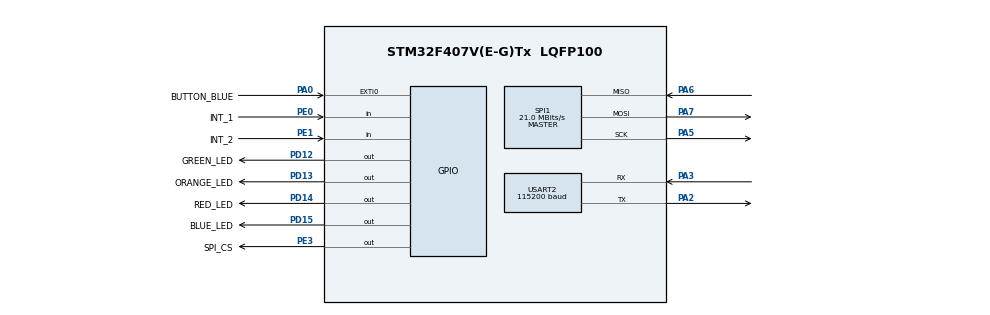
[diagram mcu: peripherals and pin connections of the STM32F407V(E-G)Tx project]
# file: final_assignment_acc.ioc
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Mcu.Family=STM32F4
PD12.GPIO_Label=GREEN_LED
PA6.Mode=Full_Duplex_Master
PH0-OSC_IN.Signal=RCC_OSC_IN
RCC.CortexFreq_Value=168000000
SPI1.VirtualType=VM_MASTER
PA2.GPIO_Speed=GPIO_SPEED_FREQ_MEDIUM
PA3.GPIO_Speed=GPIO_SPEED_FREQ_MEDIUM
RCC.SYSCLKSource=RCC_SYSCLKSOURCE_PLLCLK
ProjectManager.StackSize=0x400
PD13.Signal=GPIO_Output
SPI1.Direction=SPI_DIRECTION_2LINES
RCC.HCLKFreq_Value=168000000
RCC.APB2TimFreq_Value=168000000
SPI1.CalculateBaudRate=21.0 MBits/s
TIM3.Pulse-Output\ Compare1\ No\ Output=50000
PE1.Signal=GPIO_Input
RCC.AHBFreq_Value=168000000
PH0-OSC_IN.Mode=HSE-External-Oscillator
PE3.PinState=GPIO_PIN_SET
RCC.HSE_VALUE=8000000
PC14-OSC32_IN.Mode=LSE-External-Oscillator
PA14.Mode=Serial_Wire
TIM3.Prescaler=1679
PH1-OSC_OUT.Mode=HSE-External-Oscillator
PD13.GPIO_Label=ORANGE_LED
Mcu.Package=LQFP100
PA6.Signal=SPI1_MISO
USART2.VirtualMode=VM_ASYNC
PD12.Signal=GPIO_Output
PE0.GPIO_Label=INT_1
RCC.APB2CLKDivider=RCC_HCLK_DIV2
RCC.APB1TimFreq_Value=84000000
SPI1.BaudRatePrescaler=SPI_BAUDRATEPRESCALER_4
PD15.Signal=GPIO_Output
PA3.Signal=USART2_RX
PA5.Mode=Full_Duplex_Master
RCC.PLLSourceVirtual=RCC_PLLSOURCE_HSE
PC15-OSC32_OUT.Mode=LSE-External-Oscillator
PD15.GPIO_Label=BLUE_LED
PA7.Mode=Full_Duplex_Master
TIM3.Channel-Output\ Compare1\ No\ Output=TIM_CHANNEL_1
RCC.APB1CLKDivider=RCC_HCLK_DIV4
PC14-OSC32_IN.Signal=RCC_OSC32_IN
NVIC.USART2_IRQn=true\:0\:0\:false\:false\:true\:true\:true
USART2.BaudRate=115200
PA0-WKUP.GPIO_Label=BUTTON_BLUE
PA0-WKUP.Signal=GPXTI0
PA13.Signal=SYS_JTMS-SWDIO
PA3.Mode=Asynchronous
ProjectManager.TargetToolchain=STM32CubeIDE
PC15-OSC32_OUT.Signal=RCC_OSC32_OUT
TIM3.OC1Preload=DISABLE
PA5.Signal=SPI1_SCK
board=custom
VP_TIM3_VS_no_output1.Mode=Output Compare1 No Output
RCC.VCOOutputFreq_Value=336000000
PE1.GPIO_Label=INT_2
RCC.APB2Freq_Value=84000000
SPI1.CRCCalculation=SPI_CRCCALCULATION_ENABLE
SPI1.Mode=SPI_MODE_MASTER
PH1-OSC_OUT.Signal=RCC_OSC_OUT
PD14.GPIO_Label=RED_LED
PA13.Mode=Serial_Wire
Mcu.Name=STM32F407V(E-G)Tx
PE0.Signal=GPIO_Input
PA2.Signal=USART2_TX
PD14.Signal=GPIO_Output
RCC.48MHZClocksFreq_Value=84000000
RCC.SYSCLKFreq_VALUE=168000000
PE3.GPIO_Speed=GPIO_SPEED_FREQ_MEDIUM
PA14.Signal=SYS_JTCK-SWCLK
ProjectManager.HeapSize=0x200
RCC.HSI_VALUE=16000000
NVIC.PriorityGroup=NVIC_PRIORITYGROUP_4
RCC.PLLM=8
RCC.PLLN=336
PE3.Signal=GPIO_Output
PA2.Mode=Asynchronous
PA0-WKUP.GPIO_PuPd=GPIO_PULLDOWN
PE3.GPIO_Label=SPI_CS
TIM3.TIM_MasterOutputTrigger=TIM_TRGO_OC1REF
RCC.APB1Freq_Value=42000000
PA7.Signal=SPI1_MOSI

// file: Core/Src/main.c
/* USER CODE BEGIN Header */
/**
 ******************************************************************************
 * @file           : main.c
 * @brief          : Main program body
 ******************************************************************************
 * @attention
 *
 * <h2><center>&copy; Copyright (c) 2021 STMicroelectronics.
 * All rights reserved.</center></h2>
 *
 * This software component is licensed by ST under BSD 3-Clause license,
 * the "License"; You may not use this file except in compliance with the
 * License. You may obtain a copy of the License at:
 *                        opensource.org/licenses/BSD-3-Clause
 *
 ******************************************************************************
 */
/* USER CODE END Header */
#include "main.h"
#include "spi.h"
#include "tim.h"
#include "usart.h"
#include "gpio.h"

#include "acc_fir.h"
#include "acc_utils.h"

/* USER CODE BEGIN Includes */
#include "stm32f4_discovery_lis3dsh.h"
#include <stdio.h>
#include <math.h>
#include "stm32f4xx.h"

#include "arm_math.h"
#include "math_helper.h"
#include "noarm_cmsis.h"
/* USER CODE END Includes */

/* USER CODE BEGIN PD */
//#define __FPU_PRESENT             1U       /*!< FPU present                                   */
/* ----------------------------------------------------------------------
 * Defines for each of the tests performed
 * ------------------------------------------------------------------- */

/* USER CODE END PD */

/* USER CODE BEGIN PV */

void Acc_Config(void);

uint8_t chRX = 0;
uint8_t dataReceived = 0;

uint8_t stream_active = 0;
uint8_t stream_mode = 0;

uint8_t dataReady = 0;

float32_t roll;
float32_t pitch;

// accData row counter
uint16_t idx = 0;
// matrix used by the accelerometer to store values
int16_t accData[SIZE][3];

// fir output data arrays
float32_t fir_out_x[SIZE];
float32_t fir_out_y[SIZE];
float32_t fir_out_z[SIZE];

// To check the inclusion on DSP
// Test as in: https://community.st.com/s/article/configuring-dsp-libraries-on-stm32cubeide
#define FFT_Length 1024
float32_t FFT_Input_Q15_f[50];
float32_t aFFT_Input_Q15[50];

/* USER CODE END PV */

void SystemClock_Config(void);
void led_off();
void led_orientation(float32_t roll, float32_t pitch);

int main(void) {
	/* USER CODE BEGIN 1 */

	// To check the inclusion of DSP
	// Test as in: https://community.st.com/s/article/configuring-dsp-libraries-on-stm32cubeide
	arm_float_to_q15((float32_t*) &FFT_Input_Q15_f[0], (q15_t*) &aFFT_Input_Q15[0], FFT_Length * 2);

	/* USER CODE END 1 */

	/* MCU Configuration--------------------------------------------------------*/

	/* Reset of all peripherals, Initializes the Flash interface and the Systick. */
	HAL_Init();

	/* Configure the system clock */
	SystemClock_Config();

	/* Initialize all configured peripherals */
	MX_GPIO_Init();
	MX_TIM3_Init();
	MX_USART2_UART_Init();
	MX_SPI1_Init();
	/* USER CODE BEGIN 2 */

	// init systick
	if (HAL_SYSTICK_Config(SystemCoreClock / (1000U / uwTickFreq)) > 0U) {
		return HAL_ERROR;
	}

	LL_USART_EnableIT_RXNE(USART2);
	LL_USART_Enable(USART2);

	LL_SPI_Enable(LIS3DSH_SPI);
	Acc_Config();

	// initialize 3 axis FIR
	init_fir_3_axes();
	// reset all board LEDs
	led_off();

	printf("Type s to start/stop streaming and d to toggle streaming mode...\r\n");
	/* USER CODE END 2 */
	/* Infinite loop */
	/* USER CODE BEGIN WHILE */
	while (1) {
		if (dataReceived) {
			if (chRX == 's') {
				// toggle stream
				stream_active = 1 - stream_active;
				if (stream_active == 1) {
					printf("Stream ON\r\n");
				} else {
					printf("Stream OFF\r\n");
				}

			} else if (chRX == 'd') {
				// toggle streaming mode between accelerometer data streaming and roll, pitch
				stream_mode = 1 - stream_mode;
				if (stream_mode == 1) {
					printf("Now streaming (roll, pitch) \r\n");
				} else {
					printf("Now streaming (x, y, z)\r\n");
				}
			} else {
				printf("Wrong command\r\n");
			}

			dataReceived = 0;
		}

		if (stream_active) {
			// wait for data, controlled by systick
			if (dataReady) {
				// read the 3 axes from the accelerometer and set it to the idx-th row in accData
				LIS3DSH_ReadACC(accData[idx++]);
				// set data ready after reading
				// wait another 10ms before doing it again
				dataReady = 0;
				// data sample full (25 values), filtering and printing
				if (idx == SIZE) {
					// collected SIZE samples (stream freq / sample freq)
					// run FIR on collected data
					fir_3_axes(accData, &fir_out_x[0], &fir_out_y[0], &fir_out_z[0]);

					roll = cal_roll(fir_out_x[SIZE - 1], fir_out_y[SIZE - 1], fir_out_z[SIZE - 1]);
					pitch = cal_pitch(fir_out_x[SIZE - 1], fir_out_y[SIZE - 1], fir_out_z[SIZE - 1]);

					// turn on lowest led
					led_orientation(roll, pitch);

					// stream most recent value
					if (stream_mode == 0) {
						// stream_mode = 0 -> stream acc data
						printf("X: %-9.4f\tY: %-9.4f\tZ: %-9.4f\r\n", fir_out_x[SIZE - 1], fir_out_y[SIZE - 1], fir_out_z[SIZE - 1]);
					} else {
						// stream_mode = 1 -> stream (roll, pitch) data
						printf("ROLL: %-9.3f\t\tPITCH: %-9.3f\r\n", roll, pitch);
					}

					printf("------------------------------------------------------------\r\n");

					// reset row counter
					idx = 0;
				}
			}
		}
	}

	/* USER CODE END WHILE */

}

void SystemClock_Config(void) {
RCC_OscInitTypeDef RCC_OscInitStruct = { 0 };
RCC_ClkInitTypeDef RCC_ClkInitStruct = { 0 };

/** Configure the main internal regulator output voltage
 */
__HAL_RCC_PWR_CLK_ENABLE();
__HAL_PWR_VOLTAGESCALING_CONFIG(PWR_REGULATOR_VOLTAGE_SCALE1);
/** Initializes the RCC Oscillators according to the specified parameters
 * in the RCC_OscInitTypeDef structure.
 */
RCC_OscInitStruct.OscillatorType = RCC_OSCILLATORTYPE_HSE;
RCC_OscInitStruct.HSEState = RCC_HSE_ON;
RCC_OscInitStruct.PLL.PLLState = RCC_PLL_ON;
RCC_OscInitStruct.PLL.PLLSource = RCC_PLLSOURCE_HSE;
RCC_OscInitStruct.PLL.PLLM = 8;
RCC_OscInitStruct.PLL.PLLN = 336;
RCC_OscInitStruct.PLL.PLLP = RCC_PLLP_DIV2;
RCC_OscInitStruct.PLL.PLLQ = 4;
if (HAL_RCC_OscConfig(&RCC_OscInitStruct) != HAL_OK) {
	Error_Handler();
}
/** Initializes the CPU, AHB and APB buses clocks
 */
RCC_ClkInitStruct.ClockType = RCC_CLOCKTYPE_HCLK | RCC_CLOCKTYPE_SYSCLK
		| RCC_CLOCKTYPE_PCLK1 | RCC_CLOCKTYPE_PCLK2;
RCC_ClkInitStruct.SYSCLKSource = RCC_SYSCLKSOURCE_PLLCLK;
RCC_ClkInitStruct.AHBCLKDivider = RCC_SYSCLK_DIV1;
RCC_ClkInitStruct.APB1CLKDivider = RCC_HCLK_DIV4;
RCC_ClkInitStruct.APB2CLKDivider = RCC_HCLK_DIV2;

if (HAL_RCC_ClockConfig(&RCC_ClkInitStruct, FLASH_LATENCY_5) != HAL_OK) {
	Error_Handler();
}
}

/* USER CODE BEGIN 4 */

/*
 * @brief 			turns off all leds
 * @return 			none
 */
void led_off() {
	// reset all leds
	LL_GPIO_ResetOutputPin(GPIOD, GPIO_PIN_12);
	LL_GPIO_ResetOutputPin(GPIOD, GPIO_PIN_13);
	LL_GPIO_ResetOutputPin(GPIOD, GPIO_PIN_14);
	LL_GPIO_ResetOutputPin(GPIOD, GPIO_PIN_15);
}

/*
 * @brief 			turn on lowest led based on roll and pitch
 * @param[roll]		pitch angle
 * @param[pitch] 	roll angle
 * @return 			none
 */
void led_orientation(float32_t roll, float32_t pitch) {
	// reset all leds
	led_off();
	unsigned int to_turn_on = -1;
	// introduce tolerance - dead zone
	if(roll > ACC_TOL) {
		// front
		to_turn_on = GPIO_PIN_13; //orange
	} else if (roll < -ACC_TOL){
		//back
		to_turn_on = GPIO_PIN_15; // blue
		roll = -roll;
	}
	if(pitch > ACC_TOL) {
		// may be sx, check
		if(pitch > roll) {
			to_turn_on = GPIO_PIN_12; //green
		}
	} else if (pitch < -ACC_TOL) {
		// may be dx, check
		if(-pitch > roll) {
			to_turn_on = GPIO_PIN_14; //red
		}
	}

	// if pitch and roll are under the tolerance no led turns on
	if (to_turn_on != -1) {
		// then set only the chosen one
		LL_GPIO_SetOutputPin(GPIOD, to_turn_on);
	}
}

/*
 * This function finds the maximum value in an array and returns its index in the array.
 * @param 	a[]		array to find maximum
 * @param 	n 		size of the array
 * @return 	index 	array index of maximum value in array
 */

int __io_putchar(int ch) {
/* Place your implementation of fputc here */
/* e.g. write a character to the USART */
LL_USART_TransmitData8(USART2, (uint8_t) ch);

/* Loop until the end of transmission */
while (LL_USART_IsActiveFlag_TC(USART2) == 0) {
}

return ch;
}

void Acc_Config(void) {
LIS3DSH_InitTypeDef AccInitStruct;

AccInitStruct.Output_DataRate = LIS3DSH_DATARATE_25;
AccInitStruct.Axes_Enable = LIS3DSH_XYZ_ENABLE;
AccInitStruct.SPI_Wire = LIS3DSH_SERIALINTERFACE_4WIRE;
AccInitStruct.Self_Test = LIS3DSH_SELFTEST_NORMAL;
AccInitStruct.Full_Scale = LIS3DSH_FULLSCALE_2;
AccInitStruct.Filter_BW = LIS3DSH_FILTER_BW_800;

LIS3DSH_Init(&AccInitStruct);
}

/* USER CODE END 4 */

void Error_Handler(void) {
__disable_irq();
while (1) {
}
}

/************************ (C) COPYRIGHT STMicroelectronics *****END OF FILE****/
